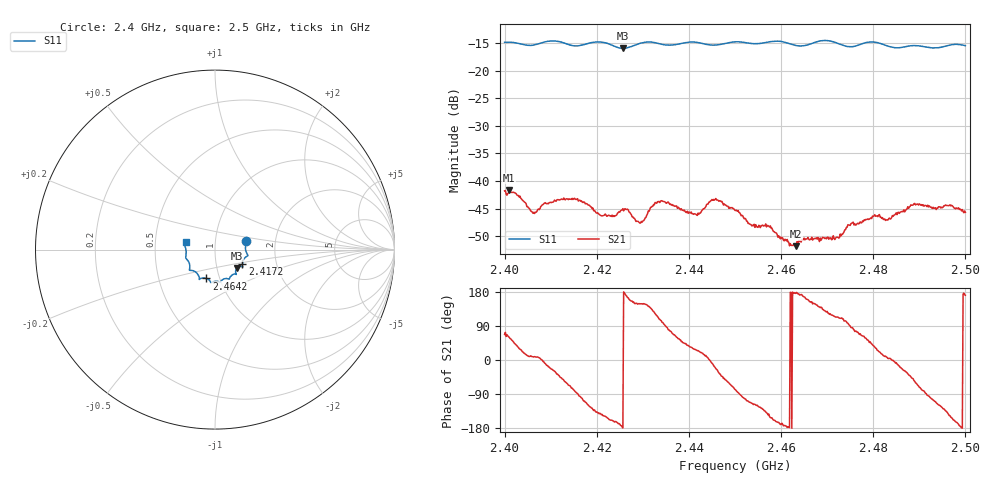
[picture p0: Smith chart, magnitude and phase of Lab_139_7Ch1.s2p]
# Hz S RI R 50
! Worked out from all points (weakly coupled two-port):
!   601 points, 2.4 GHz to 2.5 GHz, reference 50 ohm
!   highest |S21| = -41.62 dB at 2.401 GHz (marker M1); lowest = -51.8 dB at 2.4632 GHz (marker M2)
!   lowest |S11| = -15.9 dB at 2.4257 GHz (marker M3), VSWR 1.38, Z = 62.4 - j13.1 ohm
!   |S11| at or under -10 dB: start of sweep to end of sweep
!   S12 and S22 are empty: the file has one direction only
!   S11 on the Smith chart (normalised r, x): 2.4 GHz: 1.41, +0.14; 2.4172 GHz: 1.34, -0.22; 2.4642 GHz: 0.86, -0.29; 2.5 GHz: 0.72, +0.06
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2.4e9  0.1742 0.0485  0.00314 0.00752  0 0  0 0
2.401e9  0.1763 0.0454  0.00414 0.00719  0 0  0 0
2.406333e9  0.1711 -0.0034  0.00516 0.00073  0 0  0 0
2.411833e9  0.1805 -0.0359  0.00505 -0.00445  0 0  0 0
2.416667e9  0.1528 -0.075  -0.00117 -0.00652  0 0  0 0
2.417167e9  0.1523 -0.0807  -0.00204 -0.00614  0 0  0 0
2.421e9  0.1542 -0.0964  -0.00393 -0.00283  0 0  0 0
2.425667e9  0.1224 -0.1025  -0.00562 -5.36e-05  0 0  0 0
2.429667e9  0.1169 -0.135  -0.00367 0.00227  0 0  0 0
2.433333e9  0.1125 -0.1364  -0.00249 0.006  0 0  0 0
2.441333e9  0.0774 -0.1646  0.00444 0.00237  0 0  0 0
2.445333e9  0.0522 -0.1625  0.00662 -0.00162  0 0  0 0
2.45e9  0.0294 -0.1807  0.00114 -0.00529  0 0  0 0
2.463167e9  -0.0378 -0.1654  -0.00256 0.000188  0 0  0 0
2.464167e9  -0.0481 -0.161  -0.00284 0.000406  0 0  0 0
2.466667e9  -0.0761 -0.1596  -0.00277 0.00138  0 0  0 0
2.472167e9  -0.0879 -0.1547  -0.00123 0.00284  0 0  0 0
2.475e9  -0.1065 -0.1262  3.77e-05 0.00396  0 0  0 0
2.480333e9  -0.1428 -0.1127  0.0041 0.00278  0 0  0 0
2.483333e9  -0.1405 -0.0896  0.00453 0.000302  0 0  0 0
2.489167e9  -0.1629 -0.0455  0.00305 -0.00527  0 0  0 0
2.5e9  -0.1636 0.0415  -0.00513 0.000827  0 0  0 0
